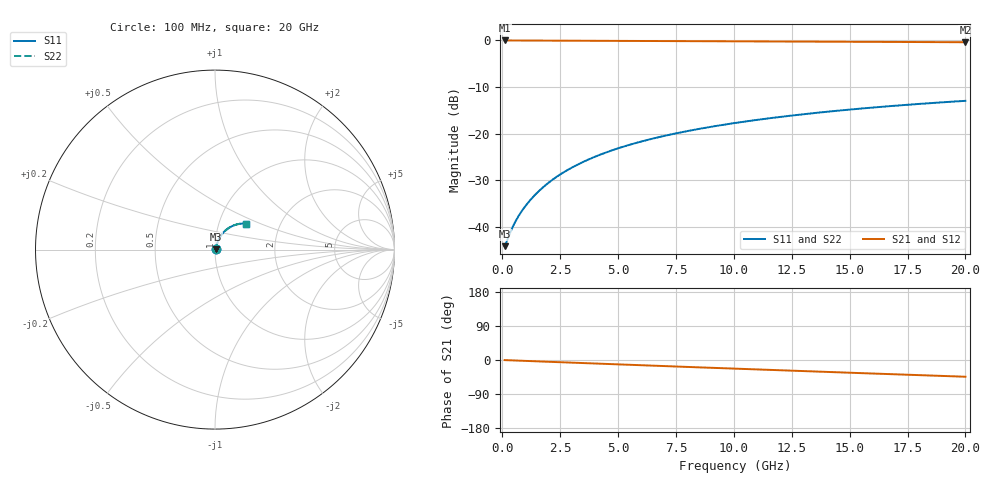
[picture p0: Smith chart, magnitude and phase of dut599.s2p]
! Touchstone file exported from HFSS 2026.1.0
!  File:  C:/ffzhzh/LocalFiles/Ansys_Project_Files/temp_train_BSMRDL_599_1783016020_53980.aedt
!  Generated:  02:14:54 AM Jul  3, 2026
!  Design:  BSMRDL
!  Project:  temp_train_BSMRDL_599_1783016020_53980
! Variables:
!  h_bsmrdl = 3.87um
!  h_ox = 20um
!  h_rdl = 5um
!  h_sub = 80um
!  h_tmrdl = 5um
!  h_tsv = 80um
!  h_via = 3um
!  l_bsmrdl = 771.87um
!  l_sub = 1171.87um
!  l_tmrdl = 200um
!  m_sub = 200um
!  pitch = 19.55um
!  r_tsv = 6um
!  s_tmrdl = 10um
!  w_bsmrdl = 11.85um
!  w_sub = 500um
!  w_tmrdl = 12um
!  x_tsv_center1 = 206um
!  x_tsv_center2 = 989.72um
!  x_tsv_center3 = 1201.72um
!  x_tsv_center4 = 1985.44um
!  x_tsv_center5 = 2197.44um
!  x_tsv_center6 = 2981.16um
# GHz S MA R 50.000000
! Terminal data exported
! Port[1] = BSM_RDL1_1_T1
! Port[2] = BSM_RDL1_1_T2
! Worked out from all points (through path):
!   200 points, 100 MHz to 20 GHz, reference 50 ohm
!   highest |S21| = -0.05 dB at 100 MHz (marker M1); lowest = -0.4 dB at 20 GHz (marker M2)
!   group delay of S21, straight-line fit = 6.12 ps
!   lowest |S11| = -44.1 dB at 100 MHz (marker M3), VSWR 1.01, Z = 50.6 + j0.179 ohm
!   |S11| at or under -10 dB: start of sweep to end of sweep
!   |S22| runs from -44.1 to -13.0 dB; largest |S21 - S12| = 2.8e-15
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0.1  0.00626 16.4  0.994 -0.3  0.994 -0.3  0.00626 16.4
! Gamma 0 0 0 0
! Port Impedance 50 0 50 0
0.2  0.007121 29.1  0.9938 -0.5  0.9938 -0.5  0.007121 29.1
0.4  0.009448 43.9  0.9933 -1.0  0.9933 -1.0  0.009447 43.8
0.6  0.0119 51.7  0.9928 -1.5  0.9928 -1.5  0.0119 51.7
0.9  0.0156 58.8  0.9924 -2.2  0.9924 -2.2  0.01559 58.8
1.1  0.01812 62.0  0.9921 -2.6  0.9921 -2.6  0.01811 62.0
1.3  0.02068 64.3  0.9919 -3.1  0.9919 -3.1  0.02068 64.4
1.5  0.02328 66.1  0.9917 -3.5  0.9917 -3.5  0.02328 66.1
1.8  0.02724 68.0  0.9914 -4.2  0.9914 -4.2  0.02724 68.0
2.3  0.03392 69.8  0.9908 -5.4  0.9908 -5.4  0.03392 69.8
2.9  0.04199 70.6  0.99 -6.8  0.99 -6.8  0.04198 70.7
3.5  0.05002 70.7  0.9891 -8.2  0.9891 -8.2  0.05001 70.7
4.2  0.05929 70.1  0.9879 -9.8  0.9879 -9.8  0.05928 70.2
5  0.0697 69.1  0.9864 -11.6  0.9864 -11.6  0.0697 69.2
5.9  0.08115 67.7  0.9845 -13.6  0.9845 -13.6  0.08115 67.7
6.8  0.09231 66.1  0.9825 -15.6  0.9825 -15.6  0.09231 66.1
8.3  0.1102 63.2  0.979 -19.0  0.979 -19.0  0.1102 63.3
10.1  0.1307 59.7  0.9747 -23.0  0.9747 -23.0  0.1307 59.8
11.7  0.148 56.5  0.9708 -26.4  0.9708 -26.4  0.148 56.6
13.4  0.1655 53.2  0.9668 -30.1  0.9668 -30.1  0.1655 53.3
16.7  0.1968 46.7  0.9589 -37.2  0.9589 -37.2  0.1968 46.8
20  0.2246 40.2  0.9514 -44.2  0.9514 -44.2  0.2246 40.3
